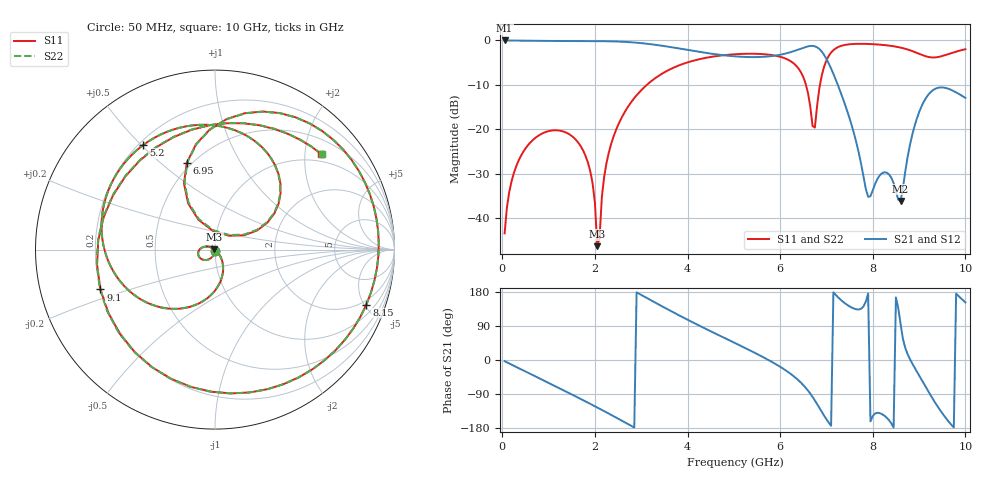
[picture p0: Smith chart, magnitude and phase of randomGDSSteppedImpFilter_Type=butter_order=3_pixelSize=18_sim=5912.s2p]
! freq	dB(S11)	phase(S11)	dB(S12)	phase(S12)
!  dB(S21)	phase(S21)	dB(S22)	phase(S22)
!S-par simulation data
#  GHz  S  DB  R 50
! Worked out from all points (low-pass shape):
!   200 points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, 50 MHz to 10 GHz, reference 50 ohm
!   highest |S21| = -0.01 dB at 50 MHz (marker M1); lowest = -36.1 dB at 8.6 GHz (marker M2)
!   |S21| within 3 dB of the highest: start of sweep to 4.534 GHz; 6.094 GHz to 6.933 GHz (838.8 MHz wide, 12.9 % of centre)
!   lowest |S11| = -46.2 dB at 2.05 GHz (marker M3), VSWR 1.01, Z = 49.6 + j0.252 ohm
!   |S11| at or under -10 dB: start of sweep to 3.12 GHz; 6.557 GHz to 6.86 GHz (302.3 MHz wide, 4.51 % of centre)
!   |S22| runs from -46.0 to -0.8 dB; largest |S21 - S12| = 0
!   S11 on the Smith chart (normalised r, x): 50 MHz: 1.00, -0.01; 5.2 GHz: 0.22, +0.51; 6.95 GHz: 0.47, +0.62; 8.15 GHz: 1.65, -5.17; 9.1 GHz: 0.20, -0.16; 10 GHz: 0.81, +2.37
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0.05  -43.36 -91.7  -0.01 -3.1  -0.01 -3.1  -43.36 -91.7
0.25  -29.80 -104.9  -0.03 -15.2  -0.03 -15.2  -29.80 -104.8
0.6  -23.00 -126.8  -0.07 -36.4  -0.07 -36.4  -23.00 -126.7
1.75  -24.83 163.0  -0.14 -106.3  -0.14 -106.3  -24.83 163.7
1.95  -32.12 150.9  -0.15 -118.9  -0.15 -118.9  -32.11 152.8
2.05  -46.24 148.6  -0.15 -125.3  -0.15 -125.3  -45.96 159.4
2.4  -21.67 -59.4  -0.22 -148.0  -0.22 -148.0  -21.67 -60.1
3.4  -7.79 -125.9  -1.12 144.9  -1.12 144.9  -7.79 -126.0
4.15  -4.48 -173.5  -2.39 97.0  -2.39 97.0  -4.48 -173.5
5.05  -3.08 133.2  -3.60 43.2  -3.60 43.2  -3.08 133.3
5.2  -3.01 124.4  -3.69 34.3  -3.69 34.3  -3.01 124.4
6.2  -4.50 58.0  -2.71 -34.2  -2.71 -34.2  -4.50 58.2
6.7  -19.23 44.8  -1.23 -97.4  -1.23 -97.4  -18.98 46.0
6.95  -5.87 108.0  -3.26 -147.0  -3.26 -147.0  -5.85 107.5
7.3  -1.28 58.8  -11.49 159.7  -11.49 159.7  -1.28 58.5
7.9  -0.79 2.3  -35.16 175.6  -35.16 175.6  -0.79 2.0
8.15  -0.94 -20.0  -30.32 -140.2  -30.32 -140.2  -0.95 -20.3
8.35  -1.16 -39.7  -30.09 -158.8  -30.09 -158.8  -1.16 -40.2
8.6  -1.61 -69.3  -36.08 95.4  -36.08 95.4  -1.62 -70.0
9.1  -3.40 -160.8  -13.80 -62.0  -13.80 -62.0  -3.40 -161.9
9.5  -3.51 110.1  -10.56 -140.4  -10.56 -140.4  -3.48 109.6
10  -1.98 41.9  -12.92 152.2  -12.92 152.2  -1.97 41.9
